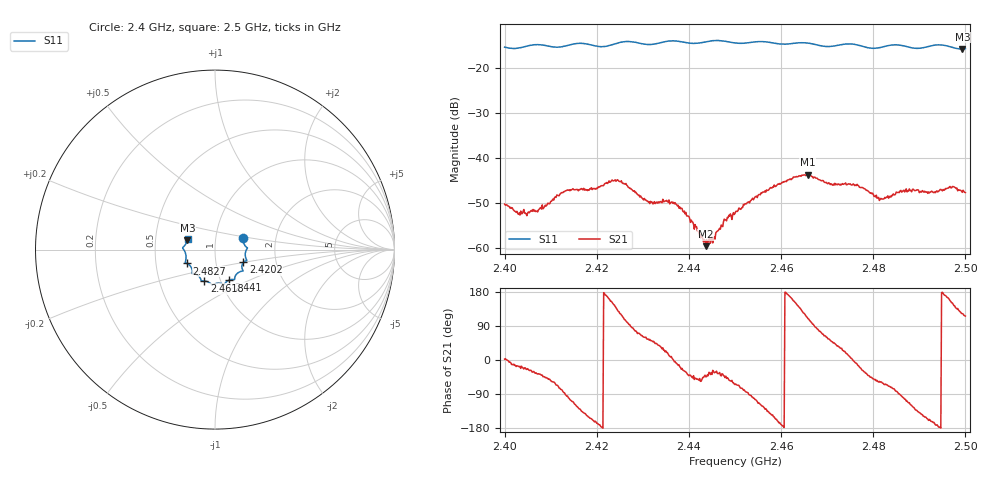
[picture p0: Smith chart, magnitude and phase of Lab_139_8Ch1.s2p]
# Hz S RI R 50
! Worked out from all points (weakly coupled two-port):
!   601 points, 2.4 GHz to 2.5 GHz, reference 50 ohm
!   highest |S21| = -43.66 dB at 2.4658 GHz (marker M1); lowest = -59.6 dB at 2.4437 GHz (marker M2)
!   lowest |S11| = -15.8 dB at 2.4993 GHz (marker M3), VSWR 1.39, Z = 36.5 + j3.85 ohm
!   |S11| at or under -10 dB: start of sweep to end of sweep
!   S12 and S22 are empty: the file has one direction only
!   S11 on the Smith chart (normalised r, x): 2.4 GHz: 1.36, +0.18; 2.4202 GHz: 1.36, -0.20; 2.441 GHz: 1.10, -0.39; 2.4618 GHz: 0.84, -0.30; 2.4827 GHz: 0.72, -0.12; 2.5 GHz: 0.73, +0.09
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2.4e9  0.1581 0.0625  0.00307 0.000119  0 0  0 0
2.404833e9  0.1738 0.0149  0.00208 -0.00097  0 0  0 0
2.413333e9  0.1704 -0.0433  -0.000223 -0.00434  0 0  0 0
2.416667e9  0.1772 -0.0606  -0.00325 -0.00324  0 0  0 0
2.420167e9  0.1583 -0.0712  -0.00461 -0.00103  0 0  0 0
2.424833e9  0.1538 -0.1125  -0.00333 0.0044  0 0  0 0
2.431e9  0.1266 -0.1303  0.00191 0.00274  0 0  0 0
2.433333e9  0.1115 -0.1511  0.00254 0.00206  0 0  0 0
2.437167e9  0.1075 -0.1675  0.00306 -0.000402  0 0  0 0
2.441e9  0.0785 -0.1696  0.00138 -0.00122  0 0  0 0
2.443667e9  0.0572 -0.1861  0.00075 -0.000737  0 0  0 0
2.445167e9  0.0519 -0.1936  0.00101 -0.000525  0 0  0 0
2.448167e9  0.0426 -0.1915  0.00133 -0.00151  0 0  0 0
2.45e9  0.0283 -0.1871  0.00103 -0.0022  0 0  0 0
2.461833e9  -0.0595 -0.1753  -0.00568 0.00122  0 0  0 0
2.465833e9  -0.0772 -0.172  -0.00214 0.0062  0 0  0 0
2.466667e9  -0.0783 -0.1682  -0.000841 0.00617  0 0  0 0
2.482667e9  -0.1561 -0.0773  0.0016 -0.00322  0 0  0 0
2.483333e9  -0.1603 -0.0751  0.00128 -0.00335  0 0  0 0
2.488333e9  -0.1609 -0.0455  -0.00209 -0.00367  0 0  0 0
2.499333e9  -0.1539 0.0513  -0.00223 0.00351  0 0  0 0
2.5e9  -0.1522 0.0609  -0.00181 0.00372  0 0  0 0
